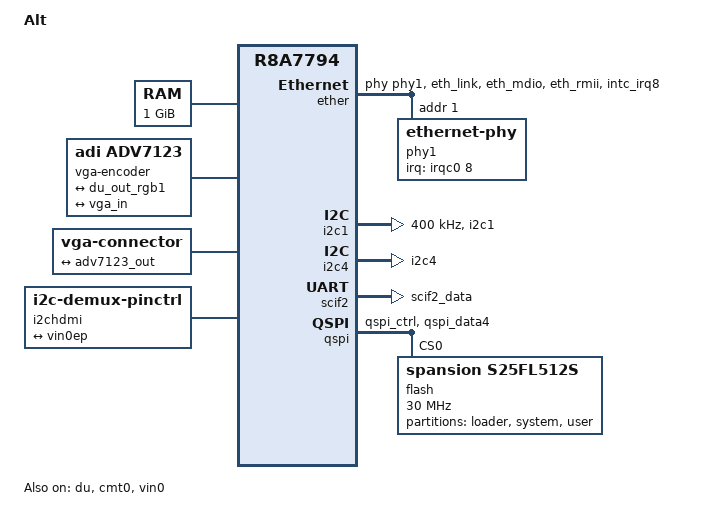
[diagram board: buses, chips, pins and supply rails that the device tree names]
/*
 * Device Tree Source for the Alt board
 *
 * Copyright (C) 2014 Renesas Electronics Corporation
 *
 * This file is licensed under the terms of the GNU General Public License
 * version 2.  This program is licensed "as is" without any warranty of any
 * kind, whether express or implied.
 */

/dts-v1/;
#include "r8a7794.dtsi"
#include <dt-bindings/gpio/gpio.h>

/ {
	model = "Alt";
	compatible = "renesas,alt", "renesas,r8a7794";

	aliases {
		serial0 = &scif2;
		i2c9 = "gpioi2c1";
		i2c10 = "gpioi2c4";
		i2c11 = "i2chdmi";
		i2c12 = "i2cexio4";
	};

	chosen {
		bootargs = "ignore_loglevel rw root=/dev/nfs ip=dhcp";
		stdout-path = "serial0:115200n8";
	};

	memory@40000000 {
		device_type = "memory";
		reg = <0 0x40000000 0 0x40000000>;
	};

	lbsc {
		#address-cells = <1>;
		#size-cells = <1>;
	};

	vga-encoder {
		compatible = "adi,adv7123";

		ports {
			#address-cells = <1>;
			#size-cells = <0>;

			port@0 {
				reg = <0>;
				adv7123_in: endpoint {
					remote-endpoint = <&du_out_rgb1>;
				};
			};
			port@1 {
				reg = <1>;
				adv7123_out: endpoint {
					remote-endpoint = <&vga_in>;
				};
			};
		};
	};

	vga {
		compatible = "vga-connector";

		port {
			vga_in: endpoint {
				remote-endpoint = <&adv7123_out>;
			};
		};
	};

	x2_clk: x2-clock {
		compatible = "fixed-clock";
		#clock-cells = <0>;
		clock-frequency = <74250000>;
	};

	x13_clk: x13-clock {
		compatible = "fixed-clock";
		#clock-cells = <0>;
		clock-frequency = <148500000>;
	};

	gpioi2c1: i2c-9 {
		#address-cells = <1>;
		#size-cells = <0>;
		compatible = "i2c-gpio";
		status = "disabled";
		gpios = <&gpio4 1 GPIO_ACTIVE_HIGH /* sda */
			 &gpio4 0 GPIO_ACTIVE_HIGH /* scl */
			>;
		i2c-gpio,delay-us = <5>;
	};

	gpioi2c4: i2c-10 {
		#address-cells = <1>;
		#size-cells = <0>;
		compatible = "i2c-gpio";
		status = "disabled";
		gpios = <&gpio4 9 GPIO_ACTIVE_HIGH /* sda */
			 &gpio4 8 GPIO_ACTIVE_HIGH /* scl */
			>;
		i2c-gpio,delay-us = <5>;
	};

	/*
	 * A fallback to GPIO is provided for I2C1.
	 */
	i2chdmi: i2c-11 {
		compatible = "i2c-demux-pinctrl";
		i2c-parent = <&i2c1>, <&gpioi2c1>;
		i2c-bus-name = "i2c-hdmi";
		#address-cells = <1>;
		#size-cells = <0>;

		composite-in@20 {
			compatible = "adi,adv7180";
			reg = <0x20>;
			remote = <&vin0>;

			port {
				adv7180: endpoint {
					bus-width = <8>;
					remote-endpoint = <&vin0ep>;
				};
			};
		};
	};

	/*
	 * I2C4 is routed to EXIO connector B, pins 73 (SCL) + 74 (SDA).
	 * A fallback to GPIO is provided.
	 */
	i2cexio4: i2c-14 {
		compatible = "i2c-demux-pinctrl";
		i2c-parent = <&i2c4>, <&gpioi2c4>;
		i2c-bus-name = "i2c-exio4";
		#address-cells = <1>;
		#size-cells = <0>;
	};
};

&du {
	pinctrl-0 = <&du_pins>;
	pinctrl-names = "default";
	status = "okay";

	clocks = <&mstp7_clks R8A7794_CLK_DU0>,
		 <&mstp7_clks R8A7794_CLK_DU0>,
		 <&x13_clk>, <&x2_clk>;
	clock-names = "du.0", "du.1", "dclkin.0", "dclkin.1";

	ports {
		port@1 {
			endpoint {
				remote-endpoint = <&adv7123_in>;
			};
		};
	};
};

&extal_clk {
	clock-frequency = <20000000>;
};

&pfc {
	pinctrl-0 = <&scif_clk_pins>;
	pinctrl-names = "default";

	du_pins: du {
		groups = "du1_rgb666", "du1_sync", "du1_disp", "du1_dotclkout0";
		function = "du";
	};

	scif2_pins: scif2 {
		groups = "scif2_data";
		function = "scif2";
	};

	scif_clk_pins: scif_clk {
		groups = "scif_clk";
		function = "scif_clk";
	};

	ether_pins: ether {
		groups = "eth_link", "eth_mdio", "eth_rmii";
		function = "eth";
	};

	phy1_pins: phy1 {
		groups = "intc_irq8";
		function = "intc";
	};

	i2c1_pins: i2c1 {
		groups = "i2c1";
		function = "i2c1";
	};

	i2c4_pins: i2c4 {
		groups = "i2c4";
		function = "i2c4";
	};

	vin0_pins: vin0 {
		groups = "vin0_data8", "vin0_clk";
		function = "vin0";
	};
};

&cmt0 {
	status = "okay";
};

&pfc {
	qspi_pins: qspi {
		groups = "qspi_ctrl", "qspi_data4";
		function = "qspi";
	};
};

&ether {
	pinctrl-0 = <&ether_pins &phy1_pins>;
	pinctrl-names = "default";

	phy-handle = <&phy1>;
	renesas,ether-link-active-low;
	status = "okay";

	phy1: ethernet-phy@1 {
		reg = <1>;
		interrupt-parent = <&irqc0>;
		interrupts = <8 IRQ_TYPE_LEVEL_LOW>;
		micrel,led-mode = <1>;
	};
};

&i2c1 {
	pinctrl-0 = <&i2c1_pins>;
	pinctrl-names = "i2c-hdmi";

	clock-frequency = <400000>;
};

&i2c4 {
	pinctrl-0 = <&i2c4_pins>;
	pinctrl-names = "i2c-exio4";
};

&vin0 {
	status = "okay";
	pinctrl-0 = <&vin0_pins>;
	pinctrl-names = "default";

	port {
		#address-cells = <1>;
		#size-cells = <0>;

		vin0ep: endpoint {
			remote-endpoint = <&adv7180>;
			bus-width = <8>;
		};
	};
};

&scif2 {
	pinctrl-0 = <&scif2_pins>;
	pinctrl-names = "default";

	status = "okay";
};

&scif_clk {
	clock-frequency = <14745600>;
	status = "okay";
};

&qspi {
	pinctrl-0 = <&qspi_pins>;
	pinctrl-names = "default";

	status = "okay";

	flash@0 {
		compatible = "spansion,s25fl512s", "jedec,spi-nor";
		reg = <0>;
		spi-max-frequency = <30000000>;
		spi-tx-bus-width = <4>;
		spi-rx-bus-width = <4>;
		spi-cpol;
		spi-cpha;
		m25p,fast-read;

		partitions {
			compatible = "fixed-partitions";
			#address-cells = <1>;
			#size-cells = <1>;

			partition@0 {
				label = "loader";
				reg = <0x00000000 0x00040000>;
				read-only;
			};
			partition@40000 {
				label = "system";
				reg = <0x00040000 0x00040000>;
				read-only;
			};
			partition@80000 {
				label = "user";
				reg = <0x00080000 0x03f80000>;
			};
		};
	};
};
